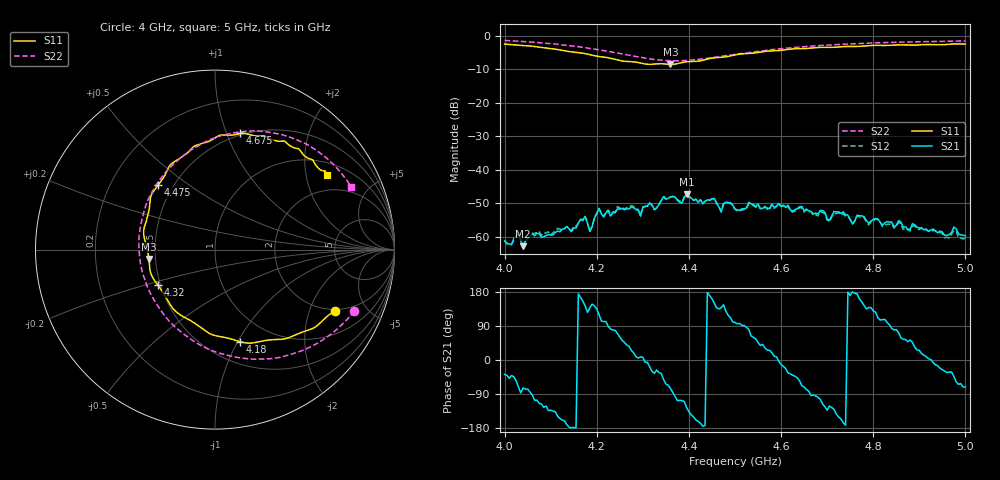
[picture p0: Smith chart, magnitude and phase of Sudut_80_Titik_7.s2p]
# Hz S RI R 50
! CMT, C1220, 16058040, 17.2.0/1
! Date: 15/08/2018 12:01:20
! Data: Format (Calibration Info)
! Freq  S11: Re/Im (F2)  S21: Re/Im (F2)  S12: Re/Im (F2)  S22: Re/Im (F2)
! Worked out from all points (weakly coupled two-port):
!   201 points, 4 GHz to 5 GHz, reference 50 ohm
!   highest |S21| = -47.32 dB at 4.395 GHz (marker M1); lowest = -62.8 dB at 4.04 GHz (marker M2)
!   lowest |S11| = -8.6 dB at 4.36 GHz (marker M3), VSWR 2.18, Z = 23 - j2.77 ohm
!   |S11| at or under -10 dB: nowhere
!   |S22| runs from -7.5 to -1.4 dB; largest |S21 - S12| = 0.00023
!   S11 on the Smith chart (normalised r, x): 4 GHz: 1.94, -3.01; 4.18 GHz: 0.71, -1.02; 4.32 GHz: 0.48, -0.22; 4.475 GHz: 0.41, +0.39; 4.675 GHz: 0.48, +1.12; 5 GHz: 1.40, +2.65
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4e9  0.6681 -0.3405  0.000681 -0.000535  0.000673 -0.000596  0.7769 -0.3418
4.03e9  0.6083 -0.3871  0.000374 -0.0011  0.000422 -0.00103  0.719 -0.4063
4.04e9  0.5855 -0.409  0.000204 -0.000696  0.000238 -0.000711  0.6973 -0.4276
4.06e9  0.5394 -0.4412  -3.91e-05 -0.00111  6.12e-05 -0.00113  0.6503 -0.4683
4.17e9  0.17 -0.5196  -0.00165 0.000771  -0.00158 0.000725  0.2782 -0.6091
4.18e9  0.1378 -0.5121  -0.000914 0.00128  -0.000949 0.00127  0.2365 -0.6099
4.185e9  0.1203 -0.5072  -0.000898 0.000801  -0.000928 0.000768  0.2148 -0.6106
4.205e9  0.0425 -0.487  -0.00131 0.00229  -0.00137 0.00228  0.1276 -0.6012
4.295e9  -0.2568 -0.2948  0.00201 0.000291  0.0021 0.000168  -0.2478 -0.4072
4.32e9  -0.3201 -0.1949  0.0026 -0.00149  0.0025 -0.00155  -0.3225 -0.3073
4.335e9  -0.3525 -0.145  0.00255 -0.00166  0.00255 -0.00165  -0.3608 -0.2415
4.36e9  -0.3683 -0.052  0.000977 -0.0038  0.000972 -0.00383  -0.4058 -0.1199
4.395e9  -0.3978 0.0907  -0.0025 -0.00351  -0.0026 -0.00354  -0.4238 0.054
4.455e9  -0.354 0.3063  -0.00325 0.00185  -0.00319 0.00191  -0.3496 0.3225
4.47e9  -0.3278 0.344  -0.00174 0.00157  -0.0017 0.00165  -0.316 0.3771
4.475e9  -0.3161 0.3601  -0.00257 0.00174  -0.00249 0.00182  -0.3038 0.3935
4.5e9  -0.2642 0.4445  -0.000414 0.00257  -0.000348 0.00255  -0.2387 0.469
4.595e9  -0.0479 0.598  0.00313 -0.000183  0.00308 -0.000198  0.0329 0.6347
4.67e9  0.1303 0.6446  -8.65e-05 -0.0022  -0.000174 -0.00209  0.2389 0.6608
4.675e9  0.1404 0.6475  -0.000187 -0.00225  -0.000188 -0.00214  0.2516 0.6601
4.835e9  0.436 0.569  -0.0001 0.00166  -9.44e-05 0.00154  0.5742 0.5461
5e9  0.6243 0.4145  0.000326 -0.000978  0.000339 -0.000887  0.759 0.3481
